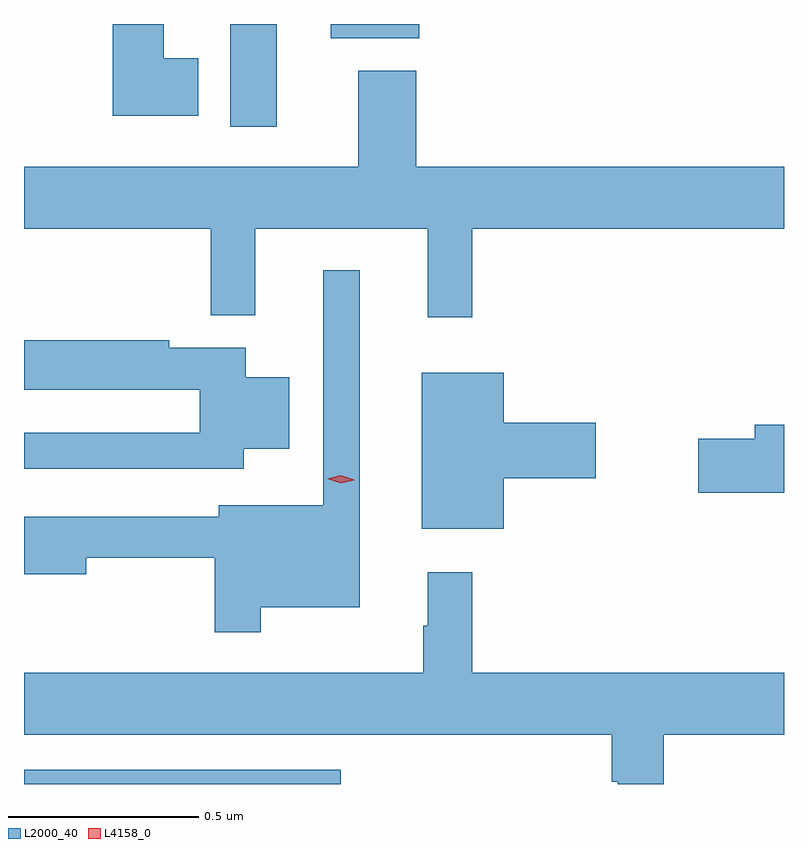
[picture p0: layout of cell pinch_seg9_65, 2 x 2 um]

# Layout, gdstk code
import gdstk
lib = gdstk.Library(unit=1e-6, precision=1e-09)
def R(c, l, rs):  # rectangles x0, y0, x1, y1
    for r in rs: c.add(gdstk.rectangle(r[:2], r[2:], *l))
def P(c, l, *ps):  # polygons
    for p in ps: c.add(gdstk.Polygon(p, *l))
L2000_40 = (2000, 40)
L4158_0 = (4158, 0)

pinch_seg9_65 = lib.new_cell('pinch_seg9_65')
R(pinch_seg9_65, L2000_40, [(958.544,1172.315,959.377,1172.352), (959.087,1174.044,959.209,1174.315), (959.351,1174.277,959.584,1174.315)])
P(pinch_seg9_65, L2000_40, [(959.002,1174.225),(958.912,1174.225),(958.912,1174.315),(958.778,1174.315),(958.778,1174.073),(959.002,1174.073)],
  [(959.723,1173.776),(960.544,1173.776),(960.544,1173.94),(959.576,1173.94),(959.576,1174.192),(959.423,1174.192),(959.423,1173.94),(958.544,1173.94),(958.544,1173.776),(959.035,1173.776),(959.035,1173.548),(959.153,1173.548),(959.153,1173.776),(959.606,1173.776),(959.606,1173.543),(959.723,1173.543)],
  [(959.167,1172.78),(959.428,1172.78),(959.428,1173.667),(959.331,1173.667),(959.331,1173.049),(959.057,1173.049),(959.057,1173.018),(958.544,1173.018),(958.544,1172.867),(958.708,1172.867),(958.708,1172.91),(959.046,1172.91),(959.046,1172.715),(959.167,1172.715)],
  [(959.122,1173.197),(959.242,1173.197),(959.242,1173.385),(959.128,1173.385),(959.128,1173.463),(958.926,1173.463),(958.926,1173.483),(958.544,1173.483),(958.544,1173.353),(959.006,1173.353),(959.006,1173.24),(958.544,1173.24),(958.544,1173.144),(959.122,1173.144)],
  [(959.806,1173.119),(960.049,1173.119),(960.049,1173.266),(959.806,1173.266),(959.806,1173.397),(959.591,1173.397),(959.591,1172.987),(959.806,1172.987)],
  [(960.544,1173.26),(960.467,1173.26),(960.467,1173.224),(960.318,1173.224),(960.318,1173.082),(960.544,1173.082)],
  [(960.227,1172.444),(960.544,1172.444),(960.544,1172.608),(959.723,1172.608),(959.723,1172.872),(959.606,1172.872),(959.606,1172.732),(959.595,1172.732),(959.595,1172.608),(958.544,1172.608),(958.544,1172.444),(960.091,1172.444),(960.091,1172.321),(960.106,1172.321),(960.106,1172.315),(960.227,1172.315)])
P(pinch_seg9_65, L4158_0, [(959.377,1173.107),(959.342,1173.118),(959.341,1173.118),(959.342,1173.118),(959.378,1173.127),(959.413,1173.116),(959.413,1173.115),(959.413,1173.115)])

lib.write_gds('pinch_seg9_65.gds')
